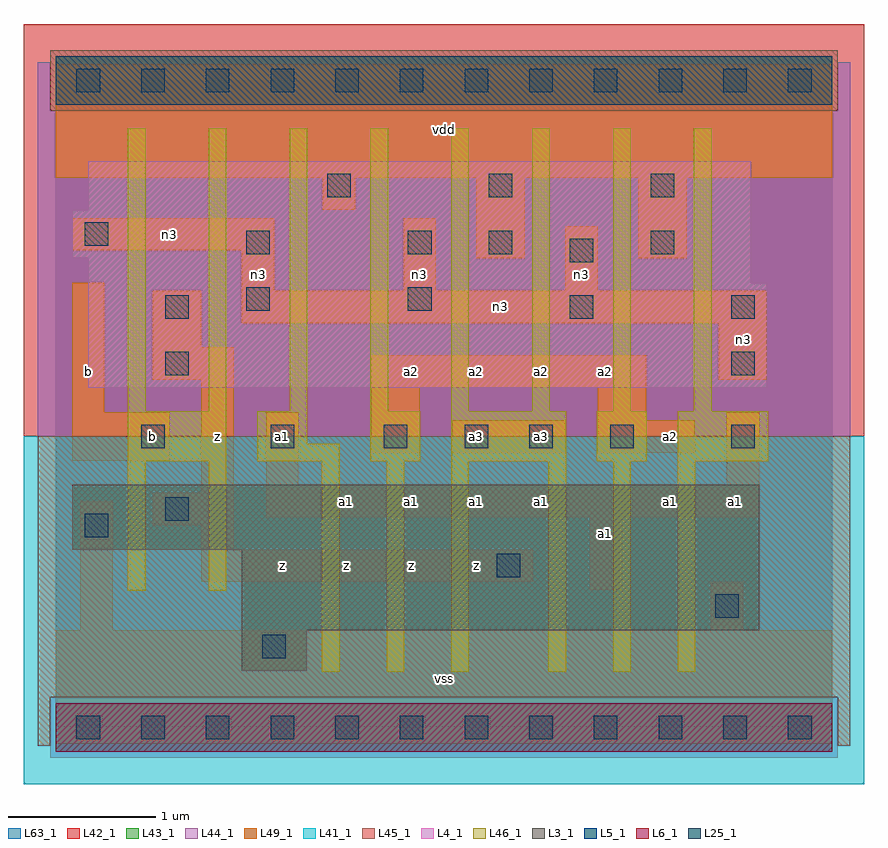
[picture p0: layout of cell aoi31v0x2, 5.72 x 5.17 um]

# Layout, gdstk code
import gdstk
lib = gdstk.Library(unit=1e-6, precision=1e-09)
def R(c, l, rs):  # rectangles x0, y0, x1, y1
    for r in rs: c.add(gdstk.rectangle(r[:2], r[2:], *l))
def A(c, l, x, y, w, h, nx, ny, dx, dy):  # array of equal rectangles
    R(c, l, [(x+i*dx, y+j*dy, x+i*dx+w, y+j*dy+h) for i in range(nx) for j in range(ny)])
L3_1 = (3, 1)
L4_1 = (4, 1)
L5_1 = (5, 1)
L6_1 = (6, 1)
L25_1 = (25, 1)
L41_1 = (41, 1)
L42_1 = (42, 1)
L43_1 = (43, 1)
L44_1 = (44, 1)
L45_1 = (45, 1)
L46_1 = (46, 1)
L49_1 = (49, 1)
L63_1 = (63, 1)

aoi31v0x2 = lib.new_cell('aoi31v0x2')
R(aoi31v0x2, L3_1, [(1.265,0.385,1.705,0.66), (1.265,0.66,4.785,1.21), (0.11,1.21,4.785,1.65)])
R(aoi31v0x2, L4_1, [(0.22,2.31,4.84,3.025), (0.22,3.025,4.73,3.19), (0.11,3.19,4.73,3.52), (0.22,3.52,4.73,3.85)])
R(aoi31v0x2, L5_1, [(0,4.235,5.28,4.565)])
R(aoi31v0x2, L6_1, [(0,-0.165,5.28,0.165)])
A(aoi31v0x2, L25_1, 0.14, -0.08, 0.16, 0.16, 12, 2, 0.44, 4.4)
A(aoi31v0x2, L25_1, 1.845, 3.605, 0.16, 0.16, 3, 1, 1.1, 0)
R(aoi31v0x2, L25_1, [(1.405,0.47,1.565,0.63), (4.485,0.745,4.645,0.905), (3,1.02,3.16,1.18), (0.195,1.295,0.355,1.455), (0.745,1.405,0.905,1.565), (0.58,1.9,0.74,2.06), (1.46,1.9,1.62,2.06), (2.23,1.9,2.39,2.06), (2.78,1.9,2.94,2.06), (3.22,1.9,3.38,2.06), (3.77,1.9,3.93,2.06), (4.595,1.9,4.755,2.06), (0.745,2.395,0.905,2.555), (4.595,2.395,4.755,2.555), (0.745,2.78,0.905,2.94), (3.495,2.78,3.655,2.94), (4.595,2.78,4.755,2.94), (1.295,2.835,1.455,2.995), (2.395,2.835,2.555,2.995), (3.495,3.165,3.655,3.325), (1.295,3.22,1.455,3.38), (2.395,3.22,2.555,3.38), (2.945,3.22,3.105,3.38), (4.045,3.22,4.205,3.38), (0.195,3.275,0.355,3.435)])
R(aoi31v0x2, L41_1, [(-0.22,-0.385,5.5,1.98)])
R(aoi31v0x2, L42_1, [(-0.22,1.98,5.5,4.785)])
R(aoi31v0x2, L43_1, [(0,-0.165,5.28,0.165), (1.265,0.385,1.705,0.66), (1.265,0.66,4.785,1.21), (0.11,1.21,4.785,1.65), (0.22,2.31,4.84,3.025), (0.22,3.025,4.73,3.19), (0.11,3.19,4.73,3.52), (0.22,3.52,4.73,3.85), (0,4.235,5.28,4.565)])
R(aoi31v0x2, L44_1, [(-0.04,-0.205,5.32,0.205), (-0.125,1.98,5.405,4.195), (-0.125,4.195,-0.04,4.525), (5.32,4.195,5.405,4.525)])
R(aoi31v0x2, L45_1, [(-0.125,-0.125,-0.04,0.205), (5.32,-0.125,5.405,0.205), (-0.125,0.205,5.405,1.98), (-0.04,4.195,5.32,4.605)])
A(aoi31v0x2, L46_1, 1.81, 0.38, 0.12, 1.43, 3, 1, 0.44, 0)
A(aoi31v0x2, L46_1, 3.35, 0.38, 0.12, 1.43, 3, 1, 0.44, 0)
A(aoi31v0x2, L46_1, 0.49, 2.15, 0.12, 1.925, 8, 1, 0.55, 0)
R(aoi31v0x2, L46_1, [(0.49,0.93,0.61,1.81), (1.04,0.93,1.16,1.81), (0.49,1.81,1.16,2.15), (1.37,1.81,1.93,1.93), (2.14,1.81,2.48,2.15), (2.69,1.81,3.47,2.15), (3.68,1.81,4.02,2.15), (4.23,1.81,4.845,2.15), (1.37,1.93,1.71,2.15)])
R(aoi31v0x2, L49_1, [(0,-0.11,5.28,0.66), (0.165,0.66,0.385,1.54), (4.455,0.66,4.675,0.99), (3.63,0.935,3.85,1.43), (0.99,0.99,3.245,1.21), (0.99,1.21,1.21,1.375), (0.66,1.375,1.21,1.595), (1.43,1.43,4.785,1.65), (0.99,1.595,1.21,2.365), (1.43,1.65,1.65,2.145), (4.565,1.65,4.785,2.145), (0.11,1.815,0.77,2.145), (2.145,1.87,2.475,2.31), (2.695,1.87,3.465,2.09), (3.685,1.87,4.345,2.09), (3.685,2.09,4.015,2.31), (0.11,2.145,0.33,3.025), (2.145,2.31,4.015,2.53), (0.66,2.365,1.21,2.585), (4.51,2.365,4.84,2.75), (0.66,2.585,0.99,2.97), (1.265,2.75,4.84,2.97), (1.265,2.97,1.485,3.245), (2.365,2.97,2.585,3.465), (3.465,2.97,3.685,3.41), (2.86,3.19,3.19,3.74), (3.96,3.19,4.29,3.74), (0.11,3.245,1.485,3.465), (1.815,3.52,2.035,3.74), (0,3.74,5.28,4.51)])
R(aoi31v0x2, L63_1, [(0,0,5.28,4.4)])
aoi31v0x2.add(gdstk.Label('b', (0.22,2.42), layer=49, texttype=1))
aoi31v0x2.add(gdstk.Label('b', (0.66,1.98), layer=49, texttype=1))
aoi31v0x2.add(gdstk.Label('z', (1.54,1.1), layer=49, texttype=1))
aoi31v0x2.add(gdstk.Label('z', (1.1,1.98), layer=49, texttype=1))
aoi31v0x2.add(gdstk.Label('a1', (1.54,1.98), layer=49, texttype=1))
aoi31v0x2.add(gdstk.Label('n3', (1.375,3.08), layer=49, texttype=1))
aoi31v0x2.add(gdstk.Label('n3', (0.77,3.355), layer=49, texttype=1))
aoi31v0x2.add(gdstk.Label('vss', (2.64,0.33), layer=49, texttype=1))
aoi31v0x2.add(gdstk.Label('z', (1.98,1.1), layer=49, texttype=1))
aoi31v0x2.add(gdstk.Label('a1', (1.98,1.54), layer=49, texttype=1))
aoi31v0x2.add(gdstk.Label('z', (2.42,1.1), layer=49, texttype=1))
aoi31v0x2.add(gdstk.Label('a1', (2.42,1.54), layer=49, texttype=1))
aoi31v0x2.add(gdstk.Label('z', (2.86,1.1), layer=49, texttype=1))
aoi31v0x2.add(gdstk.Label('a1', (2.86,1.54), layer=49, texttype=1))
aoi31v0x2.add(gdstk.Label('a2', (2.42,2.42), layer=49, texttype=1))
aoi31v0x2.add(gdstk.Label('a3', (2.86,1.98), layer=49, texttype=1))
aoi31v0x2.add(gdstk.Label('a2', (2.86,2.42), layer=49, texttype=1))
aoi31v0x2.add(gdstk.Label('n3', (2.475,3.08), layer=49, texttype=1))
aoi31v0x2.add(gdstk.Label('vdd', (2.64,4.07), layer=49, texttype=1))
aoi31v0x2.add(gdstk.Label('a1', (3.3,1.54), layer=49, texttype=1))
aoi31v0x2.add(gdstk.Label('a1', (3.74,1.32), layer=49, texttype=1))
aoi31v0x2.add(gdstk.Label('a1', (4.18,1.54), layer=49, texttype=1))
aoi31v0x2.add(gdstk.Label('a3', (3.3,1.98), layer=49, texttype=1))
aoi31v0x2.add(gdstk.Label('a2', (3.3,2.42), layer=49, texttype=1))
aoi31v0x2.add(gdstk.Label('a2', (3.74,2.42), layer=49, texttype=1))
aoi31v0x2.add(gdstk.Label('a2', (4.18,1.98), layer=49, texttype=1))
aoi31v0x2.add(gdstk.Label('n3', (3.575,3.08), layer=49, texttype=1))
aoi31v0x2.add(gdstk.Label('a1', (4.62,1.54), layer=49, texttype=1))
aoi31v0x2.add(gdstk.Label('n3', (4.675,2.64), layer=49, texttype=1))
aoi31v0x2.add(gdstk.Label('n3', (3.025,2.86), layer=49, texttype=1))

lib.write_gds('aoi31v0x2.gds')
